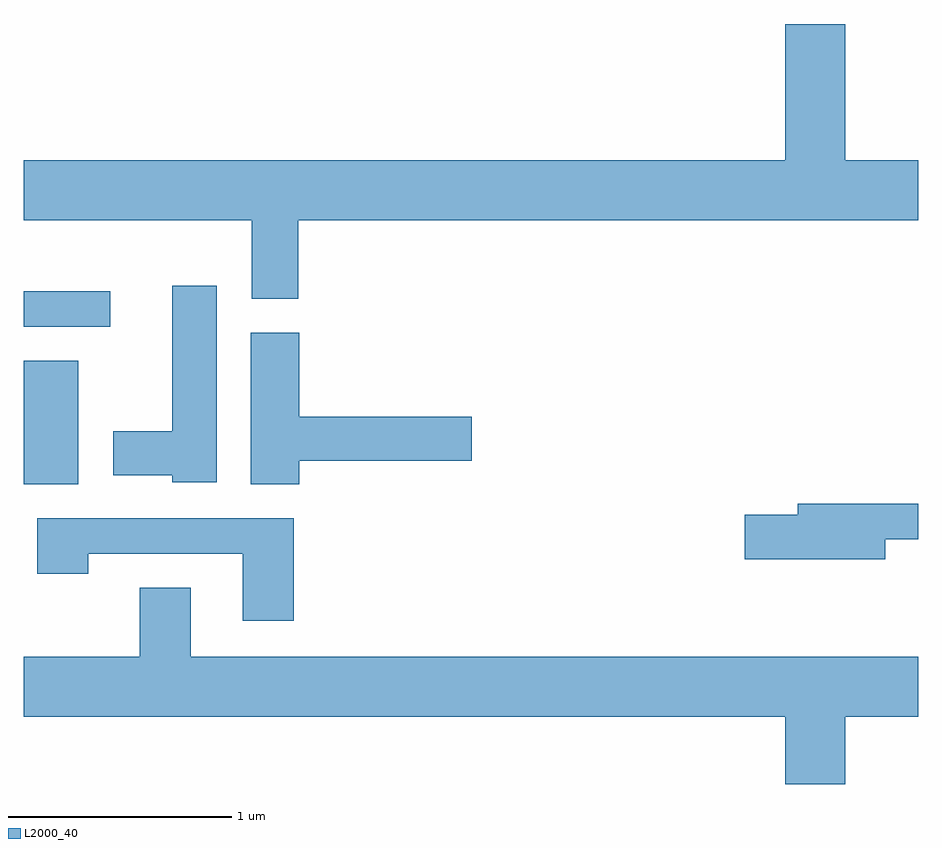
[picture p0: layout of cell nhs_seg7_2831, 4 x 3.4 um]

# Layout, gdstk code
import gdstk
lib = gdstk.Library(unit=1e-6, precision=1e-09)
def R(c, l, rs):  # rectangles x0, y0, x1, y1
    for r in rs: c.add(gdstk.rectangle(r[:2], r[2:], *l))
def P(c, l, *ps):  # polygons
    for p in ps: c.add(gdstk.Polygon(p, *l))
L2000_40 = (2000, 40)

nhs_seg7_2831 = lib.new_cell('nhs_seg7_2831')
R(nhs_seg7_2831, L2000_40, [(271.611,1739.776,271.854,1740.329), (271.611,1740.481,271.998,1740.639)])
P(nhs_seg7_2831, L2000_40, [(272.839,1740.956),(275.611,1740.956),(275.611,1741.224),(275.284,1741.224),(275.284,1741.834),(275.016,1741.834),(275.016,1741.224),(271.611,1741.224),(271.611,1740.956),(272.631,1740.956),(272.631,1740.606),(272.839,1740.606)],
  [(272.474,1740.664),(272.276,1740.664),(272.276,1740.014),(272.011,1740.014),(272.011,1739.816),(272.276,1739.816),(272.276,1739.786),(272.474,1739.786)],
  [(272.844,1739.881),(273.614,1739.881),(273.614,1740.079),(272.844,1740.079),(272.844,1740.454),(272.626,1740.454),(272.626,1739.776),(272.844,1739.776)],
  [(275.464,1739.531),(275.611,1739.531),(275.611,1739.689),(275.071,1739.689),(275.071,1739.639),(274.836,1739.639),(274.836,1739.441),(275.464,1739.441)],
  [(272.819,1739.624),(271.671,1739.624),(271.671,1739.376),(271.899,1739.376),(271.899,1739.466),(272.591,1739.466),(272.591,1739.166),(272.819,1739.166)],
  [(275.284,1738.736),(275.611,1738.736),(275.611,1739.004),(272.359,1739.004),(272.359,1739.314),(272.131,1739.314),(272.131,1739.004),(271.611,1739.004),(271.611,1738.736),(275.016,1738.736),(275.016,1738.436),(275.284,1738.436)])

lib.write_gds('nhs_seg7_2831.gds')
